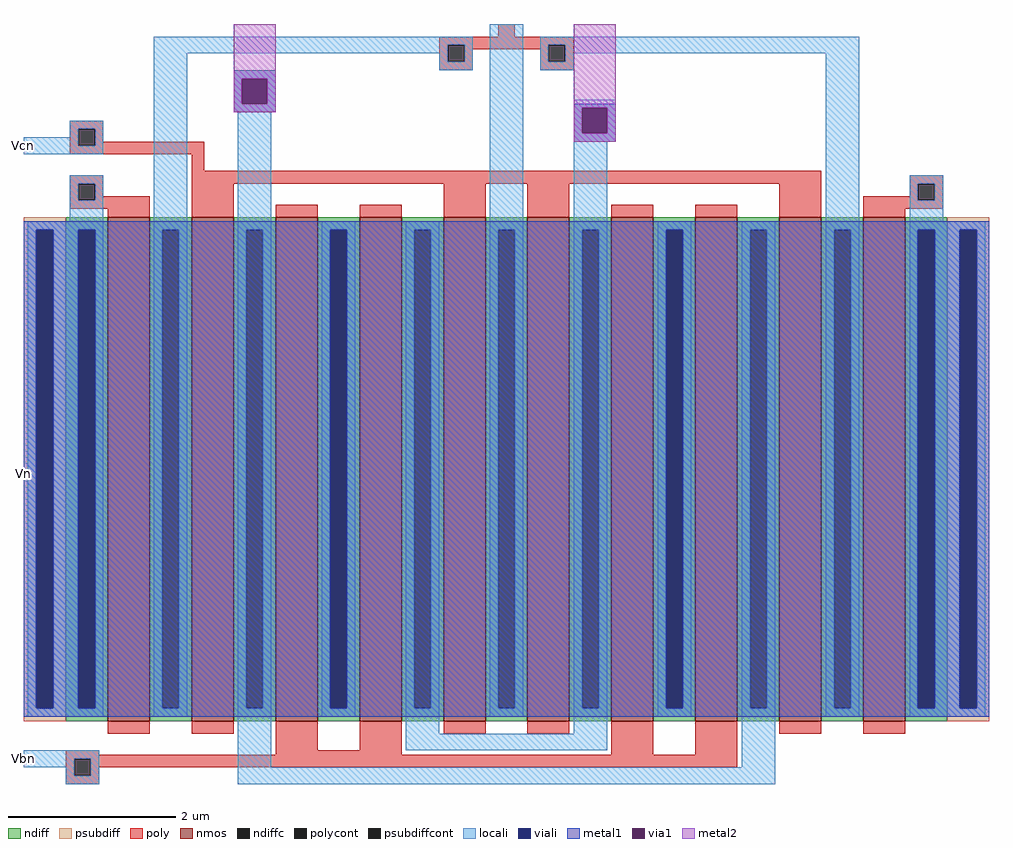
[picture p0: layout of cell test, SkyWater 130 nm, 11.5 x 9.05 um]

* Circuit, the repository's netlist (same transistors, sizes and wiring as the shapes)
* SPICE3 file created from test.ext - technology: sky130A


* Top level circuit test

X0 Vn Vbn a_270_n3530# Vn sky130_fd_pr__nfet_01v8 ad=1.2e+13p pd=5.2e+07u as=6e+12p ps=2.6e+07u w=6e+06u l=500000u
X1 Vn Vn a_70_n3530# Vn sky130_fd_pr__nfet_01v8 ad=0p pd=0u as=6e+12p ps=2.6e+07u w=6e+06u l=500000u
X2 a_670_n3530# Vbn Vn Vn sky130_fd_pr__nfet_01v8 ad=6e+12p pd=2.6e+07u as=0p ps=0u w=6e+06u l=500000u
X3 a_870_n3530# Vcn a_670_n3530# Vn sky130_fd_pr__nfet_01v8 ad=3e+12p pd=1.3e+07u as=0p ps=0u w=6e+06u l=500000u
X4 a_70_n3530# Vn Vn Vn sky130_fd_pr__nfet_01v8 ad=0p pd=0u as=0p ps=0u w=6e+06u l=500000u
X5 a_670_n3530# Vcn a_870_n3530# Vn sky130_fd_pr__nfet_01v8 ad=0p pd=0u as=0p ps=0u w=6e+06u l=500000u
X6 Vn Vbn a_670_n3530# Vn sky130_fd_pr__nfet_01v8 ad=0p pd=0u as=0p ps=0u w=6e+06u l=500000u
X7 a_270_n3530# Vbn Vn Vn sky130_fd_pr__nfet_01v8 ad=0p pd=0u as=0p ps=0u w=6e+06u l=500000u
X8 a_270_n3530# Vcn a_70_n3530# Vn sky130_fd_pr__nfet_01v8 ad=0p pd=0u as=0p ps=0u w=6e+06u l=500000u
X9 a_70_n3530# Vcn a_270_n3530# Vn sky130_fd_pr__nfet_01v8 ad=0p pd=0u as=0p ps=0u w=6e+06u l=500000u
.end

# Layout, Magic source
magic
tech sky130A
<< nmos >>
rect -15 -1765 35 -1165
rect 85 -1765 135 -1165
rect 185 -1765 235 -1165
rect 285 -1765 335 -1165
rect 385 -1765 435 -1165
rect 485 -1765 535 -1165
rect 585 -1765 635 -1165
rect 685 -1765 735 -1165
rect 785 -1765 835 -1165
rect 885 -1765 935 -1165
<< ndiff >>
rect -65 -1180 -15 -1165
rect -65 -1750 -50 -1180
rect -30 -1750 -15 -1180
rect -65 -1765 -15 -1750
rect 35 -1180 85 -1165
rect 35 -1750 50 -1180
rect 70 -1750 85 -1180
rect 35 -1765 85 -1750
rect 135 -1180 185 -1165
rect 135 -1750 150 -1180
rect 170 -1750 185 -1180
rect 135 -1765 185 -1750
rect 235 -1180 285 -1165
rect 235 -1750 250 -1180
rect 270 -1750 285 -1180
rect 235 -1765 285 -1750
rect 335 -1180 385 -1165
rect 335 -1750 350 -1180
rect 370 -1750 385 -1180
rect 335 -1765 385 -1750
rect 435 -1180 485 -1165
rect 435 -1750 450 -1180
rect 470 -1750 485 -1180
rect 435 -1765 485 -1750
rect 535 -1180 585 -1165
rect 535 -1750 550 -1180
rect 570 -1750 585 -1180
rect 535 -1765 585 -1750
rect 635 -1180 685 -1165
rect 635 -1750 650 -1180
rect 670 -1750 685 -1180
rect 635 -1765 685 -1750
rect 735 -1180 785 -1165
rect 735 -1750 750 -1180
rect 770 -1750 785 -1180
rect 735 -1765 785 -1750
rect 835 -1180 885 -1165
rect 835 -1750 850 -1180
rect 870 -1750 885 -1180
rect 835 -1765 885 -1750
rect 935 -1180 985 -1165
rect 935 -1750 950 -1180
rect 970 -1750 985 -1180
rect 935 -1765 985 -1750
<< ndiffc >>
rect -50 -1750 -30 -1180
rect 50 -1750 70 -1180
rect 150 -1750 170 -1180
rect 250 -1750 270 -1180
rect 350 -1750 370 -1180
rect 450 -1750 470 -1180
rect 550 -1750 570 -1180
rect 650 -1750 670 -1180
rect 750 -1750 770 -1180
rect 850 -1750 870 -1180
rect 950 -1750 970 -1180
<< psubdiff >>
rect -115 -1180 -65 -1165
rect -115 -1750 -100 -1180
rect -80 -1750 -65 -1180
rect -115 -1765 -65 -1750
rect 985 -1180 1035 -1165
rect 985 -1750 1000 -1180
rect 1020 -1750 1035 -1180
rect 985 -1765 1035 -1750
<< psubdiffcont >>
rect -100 -1750 -80 -1180
rect 1000 -1750 1020 -1180
<< poly >>
rect 450 -950 470 -935
rect 380 -960 540 -950
rect 380 -980 390 -960
rect 410 -965 510 -960
rect 410 -980 420 -965
rect 380 -990 420 -980
rect 500 -980 510 -965
rect 530 -980 540 -960
rect 500 -990 540 -980
rect -60 -1060 -20 -1050
rect -60 -1080 -50 -1060
rect -30 -1075 -20 -1060
rect -30 -1080 100 -1075
rect -60 -1090 100 -1080
rect 85 -1110 100 -1090
rect -60 -1125 -20 -1115
rect -60 -1145 -50 -1125
rect -30 -1140 -20 -1125
rect 85 -1125 835 -1110
rect -30 -1145 35 -1140
rect -60 -1155 35 -1145
rect -15 -1165 35 -1155
rect 85 -1165 135 -1125
rect 185 -1165 235 -1150
rect 285 -1165 335 -1150
rect 385 -1165 435 -1125
rect 485 -1165 535 -1125
rect 585 -1165 635 -1150
rect 685 -1165 735 -1150
rect 785 -1165 835 -1125
rect 940 -1125 980 -1115
rect 940 -1140 950 -1125
rect 885 -1145 950 -1140
rect 970 -1145 980 -1125
rect 885 -1155 980 -1145
rect 885 -1165 935 -1155
rect -15 -1780 35 -1765
rect 85 -1780 135 -1765
rect 185 -1800 235 -1765
rect 285 -1800 335 -1765
rect 385 -1780 435 -1765
rect 485 -1780 535 -1765
rect -65 -1805 -25 -1800
rect 185 -1805 335 -1800
rect 585 -1805 635 -1765
rect 685 -1805 735 -1765
rect 785 -1780 835 -1765
rect 885 -1780 935 -1765
rect -65 -1810 735 -1805
rect -65 -1830 -55 -1810
rect -35 -1820 735 -1810
rect -35 -1830 -25 -1820
rect -65 -1840 -25 -1830
<< polycont >>
rect 390 -980 410 -960
rect 510 -980 530 -960
rect -50 -1080 -30 -1060
rect -50 -1145 -30 -1125
rect 950 -1145 970 -1125
rect -55 -1830 -35 -1810
<< locali >>
rect 40 -960 420 -950
rect 40 -970 390 -960
rect -60 -1060 -20 -1050
rect -60 -1070 -50 -1060
rect -115 -1080 -50 -1070
rect -30 -1080 -20 -1060
rect -115 -1090 -20 -1080
rect -60 -1125 -20 -1115
rect -60 -1145 -50 -1125
rect -30 -1145 -20 -1125
rect -60 -1170 -20 -1145
rect -110 -1180 -20 -1170
rect -110 -1750 -100 -1180
rect -80 -1750 -50 -1180
rect -30 -1750 -20 -1180
rect -110 -1760 -20 -1750
rect 40 -1180 80 -970
rect 380 -980 390 -970
rect 410 -980 420 -960
rect 380 -990 420 -980
rect 135 -1000 185 -990
rect 135 -1030 145 -1000
rect 175 -1030 185 -1000
rect 135 -1040 185 -1030
rect 40 -1750 50 -1180
rect 70 -1750 80 -1180
rect 40 -1760 80 -1750
rect 140 -1180 180 -1040
rect 140 -1750 150 -1180
rect 170 -1750 180 -1180
rect -115 -1810 -25 -1800
rect -115 -1820 -55 -1810
rect -65 -1830 -55 -1820
rect -35 -1830 -25 -1810
rect -65 -1840 -25 -1830
rect 140 -1820 180 -1750
rect 240 -1180 280 -1170
rect 240 -1750 250 -1180
rect 270 -1750 280 -1180
rect 240 -1760 280 -1750
rect 340 -1180 380 -1170
rect 340 -1750 350 -1180
rect 370 -1750 380 -1180
rect 340 -1780 380 -1750
rect 440 -1180 480 -935
rect 500 -960 880 -950
rect 500 -980 510 -960
rect 530 -970 880 -960
rect 530 -980 540 -970
rect 500 -990 540 -980
rect 440 -1750 450 -1180
rect 470 -1750 480 -1180
rect 440 -1760 480 -1750
rect 540 -1035 590 -1025
rect 540 -1065 550 -1035
rect 580 -1065 590 -1035
rect 540 -1075 590 -1065
rect 540 -1180 580 -1075
rect 540 -1750 550 -1180
rect 570 -1750 580 -1180
rect 540 -1780 580 -1750
rect 640 -1180 680 -1170
rect 640 -1750 650 -1180
rect 670 -1750 680 -1180
rect 640 -1760 680 -1750
rect 740 -1180 780 -1170
rect 740 -1750 750 -1180
rect 770 -1750 780 -1180
rect 340 -1800 580 -1780
rect 740 -1820 780 -1750
rect 840 -1180 880 -970
rect 840 -1750 850 -1180
rect 870 -1750 880 -1180
rect 840 -1760 880 -1750
rect 940 -1125 980 -1115
rect 940 -1145 950 -1125
rect 970 -1145 980 -1125
rect 940 -1170 980 -1145
rect 940 -1180 1030 -1170
rect 940 -1750 950 -1180
rect 970 -1750 1000 -1180
rect 1020 -1750 1030 -1180
rect 940 -1760 1030 -1750
rect 140 -1840 780 -1820
<< viali >>
rect -100 -1750 -80 -1180
rect -50 -1750 -30 -1180
rect 145 -1030 175 -1000
rect 250 -1750 270 -1180
rect 550 -1065 580 -1035
rect 650 -1750 670 -1180
rect 950 -1750 970 -1180
rect 1000 -1750 1020 -1180
<< metal1 >>
rect 135 -1000 185 -990
rect 135 -1030 145 -1000
rect 175 -1030 185 -1000
rect 135 -1040 185 -1030
rect 540 -1035 590 -1030
rect 540 -1065 550 -1035
rect 580 -1065 590 -1035
rect 540 -1075 590 -1065
rect -115 -1180 1035 -1170
rect -115 -1750 -100 -1180
rect -80 -1750 -50 -1180
rect -30 -1750 250 -1180
rect 270 -1750 650 -1180
rect 670 -1750 950 -1180
rect 970 -1750 1000 -1180
rect 1020 -1750 1035 -1180
rect -115 -1760 1035 -1750
<< via1 >>
rect 145 -1030 175 -1000
rect 550 -1065 580 -1035
<< metal2 >>
rect 135 -1000 185 -935
rect 135 -1030 145 -1000
rect 175 -1030 185 -1000
rect 135 -1040 185 -1030
rect 540 -1035 590 -935
rect 540 -1065 550 -1035
rect 580 -1065 590 -1035
rect 540 -1075 590 -1065
<< labels >>
rlabel locali -115 -1080 -115 -1080 7 Vcn
rlabel locali -115 -1810 -115 -1810 7 Vbn
rlabel metal1 -115 -1470 -115 -1470 7 Vn
<< end >>
